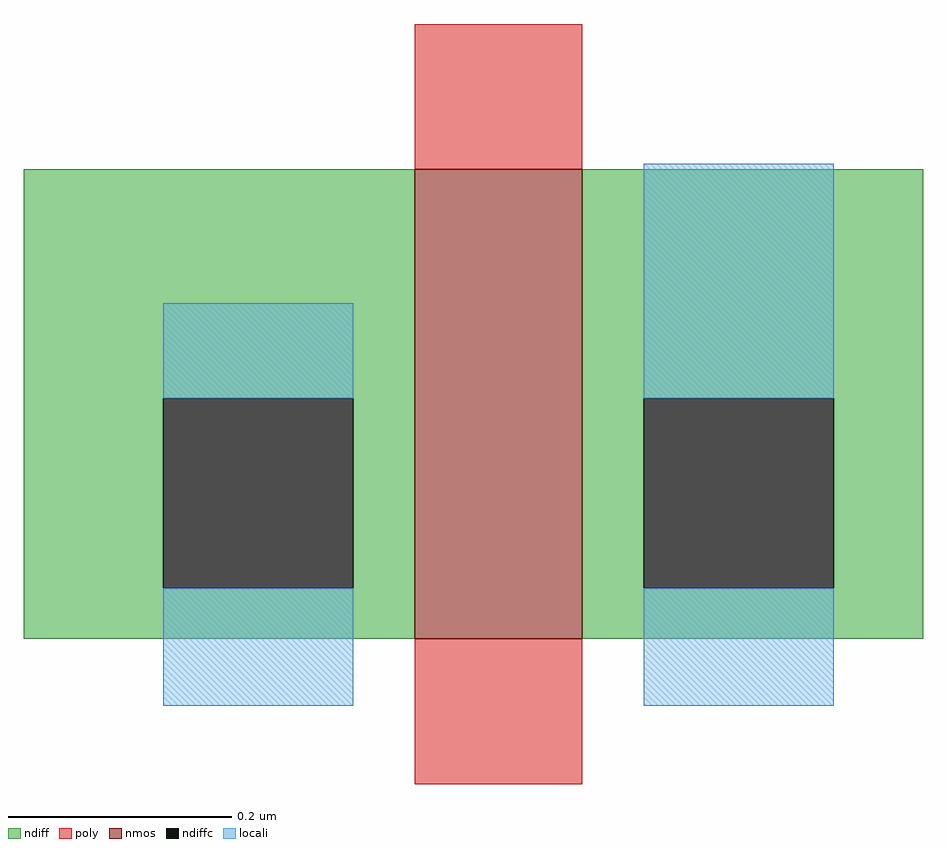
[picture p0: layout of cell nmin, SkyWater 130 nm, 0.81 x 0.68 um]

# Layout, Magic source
magic
tech sky130A
magscale 1 2
<< nmos >>
rect 0 -41 30 43
<< ndiff >>
rect -70 2 0 43
rect -70 -32 -45 2
rect -11 -32 0 2
rect -70 -41 0 -32
rect 30 2 91 43
rect 30 -32 41 2
rect 75 -32 91 2
rect 30 -41 91 -32
<< ndiffc >>
rect -45 -32 -11 2
rect 41 -32 75 2
<< poly >>
rect 0 43 30 69
rect 0 -67 30 -41
<< locali >>
rect -45 2 -11 19
rect -45 -53 -11 -32
rect 41 2 75 44
rect 41 -53 75 -32
<< end >>
